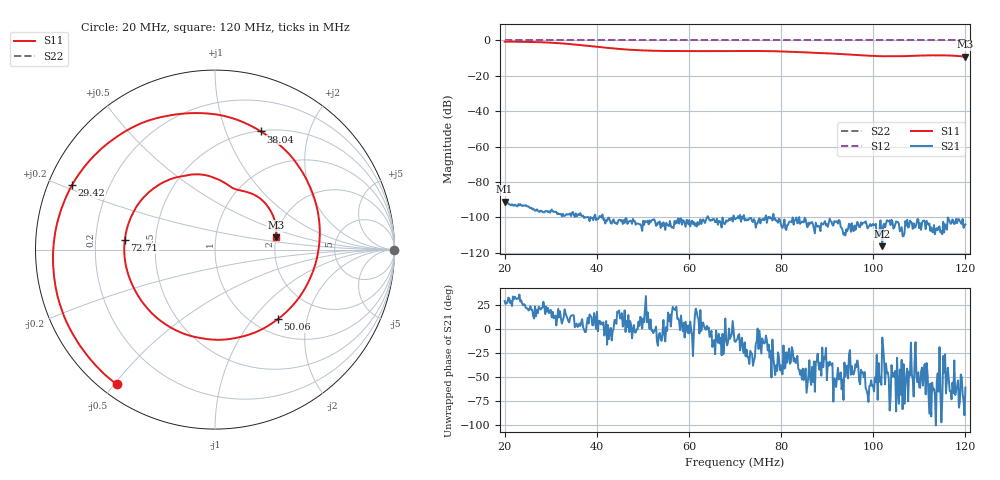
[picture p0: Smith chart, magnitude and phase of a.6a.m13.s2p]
! Anritsu VNA Master:  Model: MS2036C/10/77
! SN:  1601066
! /bd0/18may07/256.ew.m13.s2p
! Existing Calibration Information:
! TYPE:  Current Settings,  Active Cal Settings
! TIME:  05/07/2018 02:28:23 PM,  05/07/2018 02:21:54 PM
! INTERNAL TEMP:  56.5 C,  55.5 C
! # POINTS:  500,  500
! START FREQ:  20.000 MHz,  20.000 MHz
! STOP FREQ:  120.000 MHz,  120.000 MHz
! SOURCE POWER:  High,  High
! IFBW:  50 Hz,  50 Hz
! AVG FACTOR:  1 ,  1
! REF PLANE 1:  0 mm,  0 mm
! REF PLANE 2:  0 mm,  0 mm
! CAL TYPE:  Full S11,  Full S11
! CAL METHOD:  SOLT,  SOLT
! CAL LINE TYPE:  Coax,  Coax
! DUT PORT 1:  K-Conn(F),  K-Conn(F)
! DUT PORT 2:  K-Conn(F),  K-Conn(F)
! CAL STATUS:  OK: Accuracy High,  --
# GHZ S DB R 50.0
! FREQ.GHZ  S11DB  S11A  S21DB  S21A  S12DB  S12A  S22DB  S22A
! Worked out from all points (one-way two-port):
!   500 points, 20 MHz to 120 MHz, reference 50 ohm
!   highest |S21| = -91.21 dB at 20 MHz (marker M1); lowest = -116.3 dB at 102 MHz (marker M2)
!   lowest |S11| = -9.2 dB at 120 MHz (marker M3), VSWR 2.05, Z = 99.5 + j15.4 ohm
!   |S11| at or under -10 dB: nowhere
!   |S22| runs from 0.0 to 0.0 dB; largest |S21 - S12| = 1
!   S11 on the Smith chart (normalised r, x): 20 MHz: 0.05, -0.51; 29.42 MHz: 0.07, +0.22; 38.04 MHz: 0.51, +1.33; 50.06 MHz: 1.27, -1.35; 72.71 MHz: 0.33, +0.05; 120 MHz: 1.99, +0.31
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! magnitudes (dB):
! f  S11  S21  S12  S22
! 20 MHz  -0.6  -91.2  0.0  0.0
! 24.81 MHz  -0.8  -93.7  0.0  0.0
! 29.42 MHz  -1.2  -97.1  0.0  0.0
! 33.03 MHz  -1.8  -99.2  0.0  0.0
! 36.83 MHz  -2.7  -99.3  0.0  0.0
! 38.04 MHz  -3.0  -99.8  0.0  0.0
! 44.85 MHz  -4.8  -101.3  0.0  0.0
! 50.06 MHz  -5.6  -101.9  0.0  0.0
! 53.47 MHz  -5.9  -103.6  0.0  0.0
! 57.27 MHz  -6.0  -101.8  0.0  0.0
! 70.1 MHz  -5.9  -101.2  0.0  0.0
! 72.71 MHz  -5.9  -101.3  0.0  0.0
! 79.12 MHz  -6.1  -102.1  0.0  0.0
! 86.73 MHz  -6.9  -102.7  0.0  0.0
! 90.54 MHz  -7.3  -100.8  0.0  0.0
! 98.16 MHz  -8.5  -103.0  0.0  0.0
! 102 MHz  -8.9  -116.3  0.0  0.0
! 103.4 MHz  -9.0  -102.3  0.0  0.0
! 105.8 MHz  -8.9  -108.0  0.0  0.0
! 114 MHz  -8.4  -107.4  0.0  0.0
! 117.4 MHz  -8.6  -102.3  0.0  0.0
! 120 MHz  -9.2  -104.0  0.0  0.0
